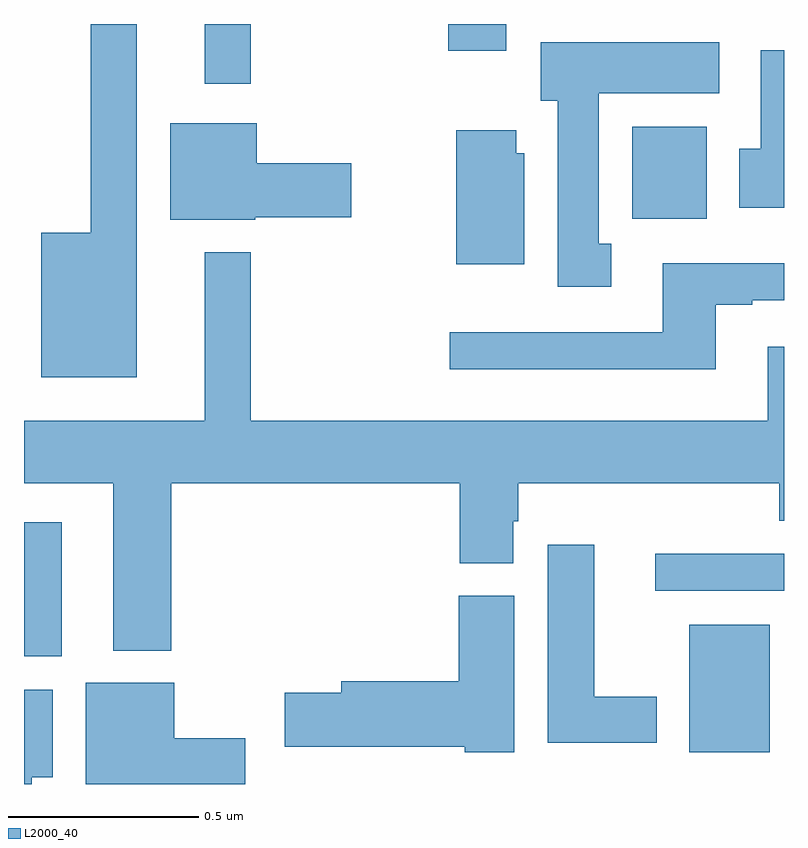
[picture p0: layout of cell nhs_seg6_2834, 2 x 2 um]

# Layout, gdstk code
import gdstk
lib = gdstk.Library(unit=1e-6, precision=1e-09)
def R(c, l, rs):  # rectangles x0, y0, x1, y1
    for r in rs: c.add(gdstk.rectangle(r[:2], r[2:], *l))
def P(c, l, *ps):  # polygons
    for p in ps: c.add(gdstk.Polygon(p, *l))
L2000_40 = (2000, 40)

nhs_seg6_2834 = lib.new_cell('nhs_seg6_2834')
R(nhs_seg6_2834, L2000_40, [(149.75,990.584,149.962,990.919), (148,990.836,148.099,991.189), (149.661,991.008,150,991.106), (149.6,991.988,149.797,992.23), (148.475,992.343,148.597,992.5), (149.117,992.43,149.269,992.5)])
P(nhs_seg6_2834, L2000_40, [(148.297,992.5),(148.176,992.5),(148.176,991.951),(148.046,991.951),(148.046,991.571),(148.297,991.571)],
  [(149.545,991.922),(149.512,991.922),(149.512,992.318),(149.83,992.318),(149.83,992.452),(149.36,992.452),(149.36,992.298),(149.405,992.298),(149.405,991.809),(149.545,991.809)],
  [(150,992.431),(149.939,992.431),(149.939,992.172),(149.882,992.172),(149.882,992.016),(150,992.016)],
  [(148.608,991.991),(148.861,991.991),(148.861,992.133),(148.612,992.133),(148.612,992.239),(148.385,992.239),(148.385,991.985),(148.608,991.985)],
  [(149.317,992.16),(149.296,992.16),(149.296,992.221),(149.138,992.221),(149.138,991.868),(149.317,991.868)],
  [(148.388,991.292),(149.147,991.292),(149.147,991.081),(149.287,991.081),(149.287,991.191),(149.3,991.191),(149.3,991.292),(149.987,991.292),(149.987,991.193),(150,991.193),(150,991.651),(149.957,991.651),(149.957,991.456),(148.597,991.456),(148.597,991.9),(148.475,991.9),(148.475,991.456),(148,991.456),(148,991.292),(148.235,991.292),(148.235,990.851),(148.388,990.851)],
  [(149.821,991.761),(149.917,991.761),(149.917,991.773),(150,991.773),(150,991.87),(149.681,991.87),(149.681,991.689),(149.121,991.689),(149.121,991.592),(149.821,991.592)],
  [(149.665,990.73),(149.5,990.73),(149.5,991.129),(149.378,991.129),(149.378,990.608),(149.665,990.608)],
  [(149.29,990.996),(149.144,990.996),(149.144,990.77),(148.835,990.77),(148.835,990.74),(148.686,990.74),(148.686,990.598),(149.16,990.598),(149.16,990.584),(149.29,990.584)],
  [(148.582,990.62),(148.396,990.62),(148.396,990.766),(148.163,990.766),(148.163,990.5),(148.582,990.5)],
  [(148.021,990.518),(148.075,990.518),(148.075,990.748),(148,990.748),(148,990.5),(148.021,990.5)])

lib.write_gds('nhs_seg6_2834.gds')
